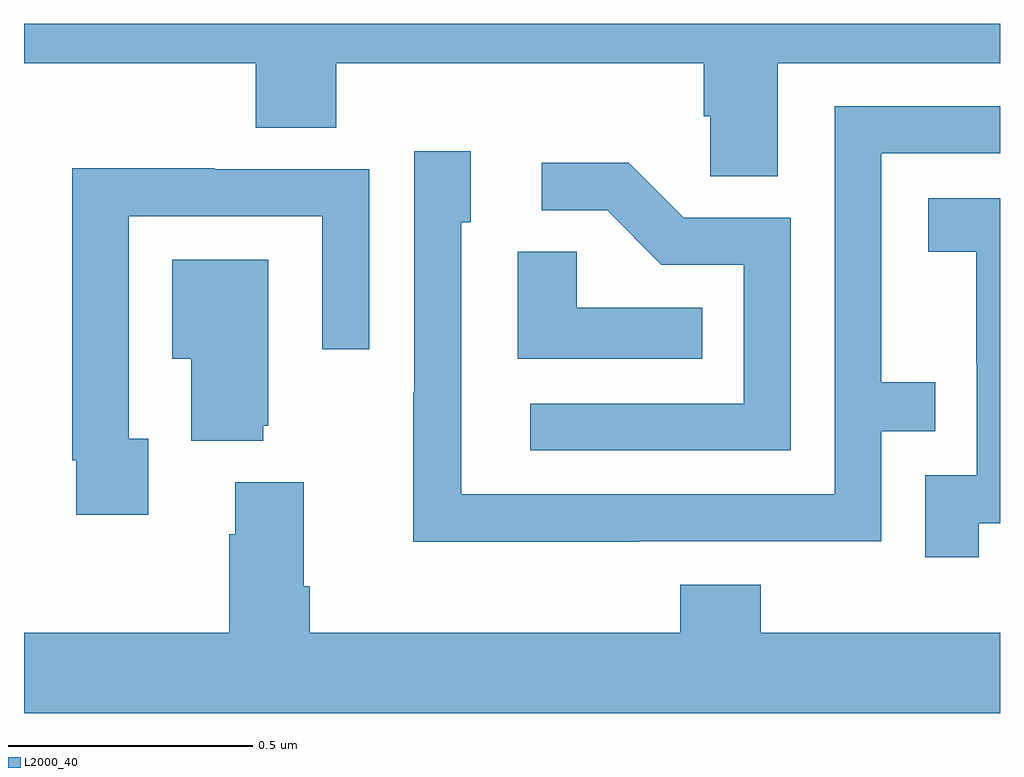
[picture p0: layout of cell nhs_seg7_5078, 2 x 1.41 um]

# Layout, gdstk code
import gdstk
lib = gdstk.Library(unit=1e-6, precision=1e-09)
def P(c, l, *ps):  # polygons
    for p in ps: c.add(gdstk.Polygon(p, *l))
L2000_40 = (2000, 40)

nhs_seg7_5078 = lib.new_cell('nhs_seg7_5078')
P(nhs_seg7_5078, L2000_40, [(182.545,1029.92),(183,1029.92),(183,1030),(181,1030),(181,1029.92),(181.475,1029.92),(181.475,1029.787),(181.64,1029.787),(181.64,1029.92),(182.393,1029.92),(182.393,1029.811),(182.406,1029.811),(182.406,1029.688),(182.545,1029.688)],
  [(182.261,1028.94),(182.757,1028.94),(182.757,1029.165),(182.867,1029.165),(182.867,1029.266),(182.757,1029.266),(182.757,1029.735),(183,1029.735),(183,1029.831),(182.661,1029.831),(182.661,1029.036),(181.896,1029.036),(181.896,1029.594),(181.915,1029.594),(181.915,1029.739),(181.8,1029.739),(181.8,1029.245),(181.798,1029.245),(181.798,1028.939),(182.261,1028.939)],
  [(182.571,1029.603),(182.352,1029.603),(182.239,1029.716),(182.061,1029.716),(182.061,1029.618),(182.195,1029.618),(182.306,1029.507),(182.475,1029.507),(182.475,1029.222),(182.037,1029.222),(182.037,1029.126),(182.571,1029.126)],
  [(181.255,1029.15),(181.215,1029.15),(181.215,1029.606),(181.611,1029.606),(181.611,1029.333),(181.707,1029.333),(181.707,1029.702),(181.391,1029.702),(181.391,1029.704),(181.099,1029.704),(181.099,1029.106),(181.107,1029.106),(181.107,1028.994),(181.255,1028.994)],
  [(182.956,1028.977),(183,1028.977),(183,1029.643),(182.853,1029.643),(182.853,1029.533),(182.951,1029.533),(182.951,1029.305),(182.952,1029.305),(182.952,1029.075),(182.847,1029.075),(182.847,1028.907),(182.956,1028.907)],
  [(182.39,1029.418),(182.133,1029.418),(182.133,1029.533),(182.012,1029.533),(182.012,1029.314),(182.39,1029.314)],
  [(181.49,1029.177),(181.501,1029.177),(181.501,1029.517),(181.304,1029.517),(181.304,1029.314),(181.343,1029.314),(181.343,1029.146),(181.49,1029.146)],
  [(183,1028.752),(182.51,1028.752),(182.51,1028.851),(182.345,1028.851),(182.345,1028.752),(181.586,1028.752),(181.586,1028.848),(181.573,1028.848),(181.573,1029.061),(181.433,1029.061),(181.433,1028.954),(181.421,1028.954),(181.421,1028.752),(181,1028.752),(181,1028.588),(183,1028.588)])

lib.write_gds('nhs_seg7_5078.gds')
